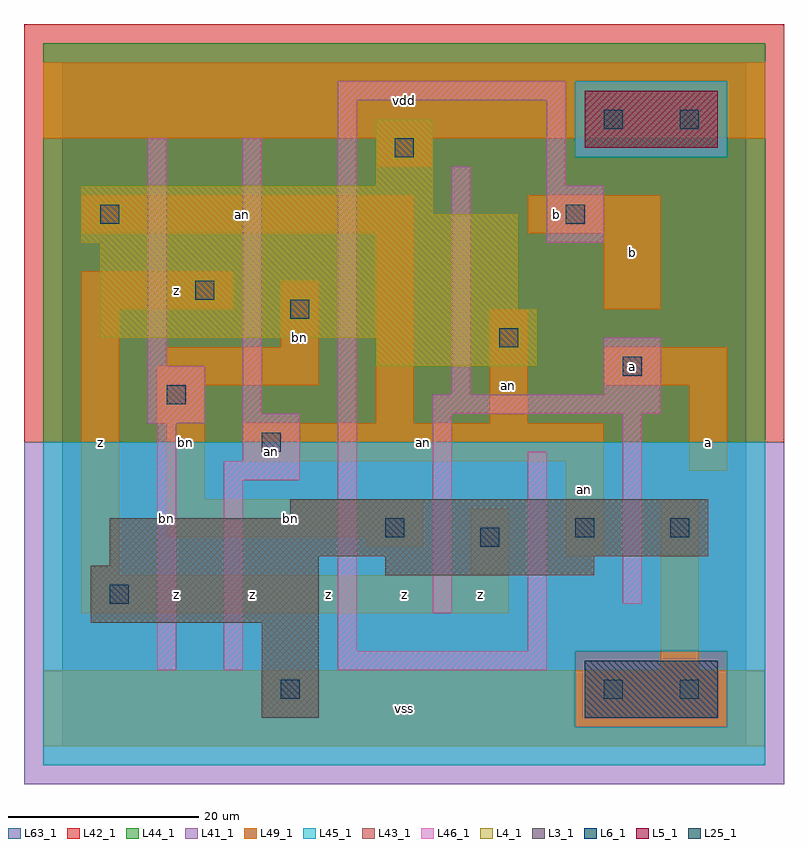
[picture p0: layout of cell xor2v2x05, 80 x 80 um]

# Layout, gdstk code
import gdstk
lib = gdstk.Library(unit=1e-6, precision=1e-09)
def R(c, l, rs):  # rectangles x0, y0, x1, y1
    for r in rs: c.add(gdstk.rectangle(r[:2], r[2:], *l))
L3_1 = (3, 1)
L4_1 = (4, 1)
L5_1 = (5, 1)
L6_1 = (6, 1)
L25_1 = (25, 1)
L41_1 = (41, 1)
L42_1 = (42, 1)
L43_1 = (43, 1)
L44_1 = (44, 1)
L45_1 = (45, 1)
L46_1 = (46, 1)
L49_1 = (49, 1)
L63_1 = (63, 1)

xor2v2x05 = lib.new_cell('xor2v2x05')
R(xor2v2x05, L3_1, [(21,3,27,13), (3,13,27,19), (34,18,56,20), (5,19,27,20), (5,20,68,24), (24,24,68,26)])
R(xor2v2x05, L4_1, [(33,40,50,43), (4,43,50,46), (4,46,48,53), (2,53,48,56), (2,56,39,59), (33,59,39,66)])
R(xor2v2x05, L5_1, [(55,63,69,69)])
R(xor2v2x05, L6_1, [(55,3,69,9), (55,3,69,9)])
R(xor2v2x05, L25_1, [(23,5,25,7), (57,5,59,7), (65,5,67,7), (5,15,7,17), (44,21,46,23), (34,22,36,24), (54,22,56,24), (64,22,66,24), (21,31,23,33), (11,36,13,38), (59,39,61,41), (46,42,48,44), (24,45,26,47), (14,47,16,49), (4,55,6,57), (53,55,55,57), (35,62,37,64), (57,65,59,67), (65,65,67,67)])
R(xor2v2x05, L41_1, [(-4,-4,76,32)])
R(xor2v2x05, L42_1, [(-4,32,76,76)])
R(xor2v2x05, L43_1, [(21,3,27,13), (55,3,69,9), (3,13,27,19), (34,18,56,20), (5,19,27,20), (5,20,68,24), (24,24,68,26), (33,40,50,43), (4,43,50,46), (4,46,48,53), (2,53,48,56), (2,56,39,59), (33,59,39,66), (55,63,69,69)])
R(xor2v2x05, L44_1, [(54,2,70,10), (-2,32,74,62), (-2,62,54,70), (70,62,74,70), (-2,70,74,74)])
R(xor2v2x05, L45_1, [(-2,-2,74,2), (-2,2,54,10), (70,2,74,10), (-2,10,74,32), (54,62,70,70)])
R(xor2v2x05, L46_1, [(10,8,12,34), (17,8,19,28), (29,8,51,10), (29,10,31,68), (49,10,51,31), (39,14,41,35), (59,15,61,35), (17,28,25,30), (19,30,25,35), (9,34,15,40), (19,35,21,64), (39,35,63,37), (41,37,43,61), (57,37,63,43), (9,40,11,64), (51,53,57,59), (51,59,53,68), (29,68,53,70)])
R(xor2v2x05, L49_1, [(-2,0,74,8), (63,8,67,26), (2,14,47,18), (2,18,6,46), (43,18,47,25), (53,20,57,30), (32,21,38,22), (11,22,38,26), (11,26,15,34), (66,29,70,38), (19,30,57,34), (10,34,15,38), (33,34,37,54), (45,34,49,46), (10,38,27,40), (57,38,70,42), (11,40,27,42), (23,42,27,49), (2,46,18,50), (57,46,63,54), (2,54,37,58), (49,54,63,58), (33,61,39,64), (-2,64,74,72)])
R(xor2v2x05, L63_1, [(0,0,72,72)])
xor2v2x05.add(gdstk.Label('an', (22,31), layer=49, texttype=1))
xor2v2x05.add(gdstk.Label('bn', (11,24), layer=46, texttype=1))
xor2v2x05.add(gdstk.Label('z', (12,16), layer=49, texttype=1))
xor2v2x05.add(gdstk.Label('z', (4,32), layer=49, texttype=1))
xor2v2x05.add(gdstk.Label('bn', (13,32), layer=49, texttype=1))
xor2v2x05.add(gdstk.Label('z', (12,48), layer=49, texttype=1))
xor2v2x05.add(gdstk.Label('z', (28,16), layer=49, texttype=1))
xor2v2x05.add(gdstk.Label('z', (20,16), layer=49, texttype=1))
xor2v2x05.add(gdstk.Label('bn', (25,43), layer=49, texttype=1))
xor2v2x05.add(gdstk.Label('vss', (36,4), layer=49, texttype=1))
xor2v2x05.add(gdstk.Label('z', (44,16), layer=49, texttype=1))
xor2v2x05.add(gdstk.Label('z', (36,16), layer=49, texttype=1))
xor2v2x05.add(gdstk.Label('bn', (24,24), layer=49, texttype=1))
xor2v2x05.add(gdstk.Label('an', (47,38), layer=49, texttype=1))
xor2v2x05.add(gdstk.Label('b', (52,56), layer=49, texttype=1))
xor2v2x05.add(gdstk.Label('an', (19,56), layer=49, texttype=1))
xor2v2x05.add(gdstk.Label('vdd', (36,68), layer=49, texttype=1))
xor2v2x05.add(gdstk.Label('an', (55,27), layer=49, texttype=1))
xor2v2x05.add(gdstk.Label('an', (38,32), layer=49, texttype=1))
xor2v2x05.add(gdstk.Label('a', (68,32), layer=49, texttype=1))
xor2v2x05.add(gdstk.Label('a', (60,40), layer=49, texttype=1))
xor2v2x05.add(gdstk.Label('b', (60,52), layer=49, texttype=1))

lib.write_gds('xor2v2x05.gds')
